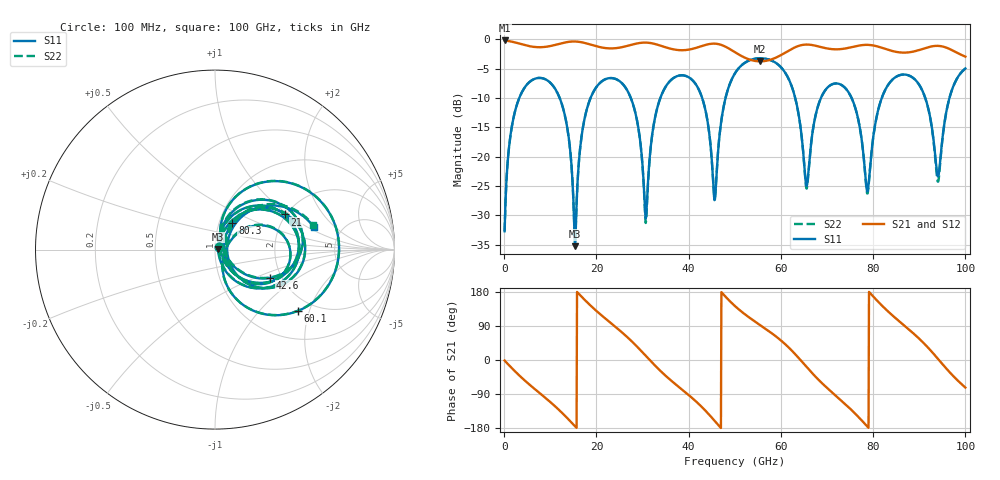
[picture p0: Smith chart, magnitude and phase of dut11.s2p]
! Touchstone file exported from HFSS 2026.1.0
!  File:  C:/ffzhzh/LocalFiles/Ansys_Project_Files/temp_train_TSV_RDL_11_1783437167_28540.aedt
!  Generated:  11:25:03 PM Jul  7, 2026
!  Design:  TSV_RDL
!  Project:  temp_train_TSV_RDL_11_1783437167_28540
! Variables:
!  h_bsmrdl = 4.92um
!  h_ox = 20um
!  h_rdl = 5um
!  h_sub = 79.44um
!  h_tmrdl = 2.14um
!  h_tsv = 79.44um
!  h_via = 3um
!  l_bsmrdl = 180.99um
!  l_sub = 3754.28um
!  l_tmrdl = 670.18um
!  m_sub = 200um
!  pitch = 52.59um
!  r_tsv = 11.92um
!  s_tmrdl = 10um
!  w_bsmrdl = 15.52um
!  w_sub = 500um
!  w_tmrdl = 28.01um
!  x_tsv_center1 = 684.185um
!  x_tsv_center2 = 880.695um
!  x_tsv_center3 = 1578.885um
!  x_tsv_center4 = 1775.395um
!  x_tsv_center5 = 2473.585um
!  x_tsv_center6 = 2670.095um
# GHz S MA R 50.000000
! Terminal data exported
! Port[1] = TM_RDL1_1_T1
! Port[2] = TM_RDL5_1_T1
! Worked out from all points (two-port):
!   1000 points, 100 MHz to 100 GHz, reference 50 ohm
!   highest |S21| = -0.17 dB at 100 MHz (marker M1); lowest = -3.7 dB at 55.5 GHz (marker M2)
!   |S21| within 3 dB of the highest: start of sweep to 52.37 GHz; 58.71 GHz to end of sweep
!   lowest |S11| = -35.2 dB at 15.4 GHz (marker M3), VSWR 1.04, Z = 51.7 + j0.398 ohm
!   |S11| at or under -10 dB: 12.05 GHz to 18.73 GHz (6.679 GHz wide, 43.4 % of centre); 27.47 GHz to 33.85 GHz (6.38 GHz wide, 20.8 % of centre); 75.34 GHz to 81.86 GHz (6.518 GHz wide, 8.29 % of centre) (the widest 3 of 7)
!   |S22| runs from -34.3 to -3.2 dB; largest |S21 - S12| = 1.4e-12
!   S11 on the Smith chart (normalised r, x): 100 MHz: 1.04, +0.03; 21 GHz: 1.96, +0.95; 42.6 GHz: 1.74, -0.63; 60.1 GHz: 1.65, -1.68; 80.3 GHz: 1.16, +0.35; 100 GHz: 3.14, +1.15
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0.1  0.02318 31.4  0.9804 -1.4  0.9804 -1.4  0.02318 31.4
! Gamma 0 0 0 0
! Port Impedance 50 0 50 0
2.4  0.2477 53.4  0.9423 -30.4  0.9423 -30.4  0.2477 53.5
7.7  0.4701 0.7  0.8585 -87.4  0.8585 -87.4  0.47 0.8
12.9  0.2486 -52.2  0.9368 -143.7  0.9368 -143.7  0.2486 -51.8
15.4  0.0173 12.9  0.9606 -175.2  0.9606 -175.2  0.01918 12.4
16.8  0.1505 69.1  0.9463 166.9  0.9463 166.9  0.1509 68.4
21  0.4341 26.8  0.8563 119.0  0.8563 119.0  0.4343 26.7
27.6  0.3069 -37.2  0.9007 50.0  0.9007 50.0  0.3069 -37.4
30.7  0.02983 6.6  0.9402 11.2  0.9402 11.2  0.02727 6.3
33.4  0.2788 60.4  0.8983 -23.0  0.8983 -23.0  0.2785 61.2
42.6  0.3444 -27.4  0.872 -120.9  0.872 -120.9  0.3443 -26.8
45.7  0.04318 27.9  0.9208 -161.4  0.9208 -161.4  0.0449 28.1
50.1  0.5188 47.3  0.776 141.8  0.776 141.8  0.519 47.5
55.5  0.6913 1.5  0.6505 92.1  0.6505 92.1  0.6913 1.8
60.1  0.5747 -36.5  0.7388 50.6  0.7388 50.6  0.5746 -36.2
66.7  0.1461 35.4  0.8971 -33.6  0.8971 -33.6  0.1451 36.8
73.7  0.3942 -22.2  0.8343 -113.6  0.8343 -113.6  0.3939 -21.7
78.7  0.0507 -2.8  0.8996 -175.0  0.8996 -175.0  0.04864 -2.4
80.3  0.1751 56.5  0.8842 163.9  0.8842 163.9  0.1745 57.8
83.4  0.4186 31.1  0.8124 126.2  0.8124 126.2  0.4183 31.9
93.5  0.09852 -38.0  0.8811 10.8  0.8811 10.8  0.0941 -40.1
100  0.5657 12.7  0.7139 -72.8  0.7139 -72.8  0.565 13.8
